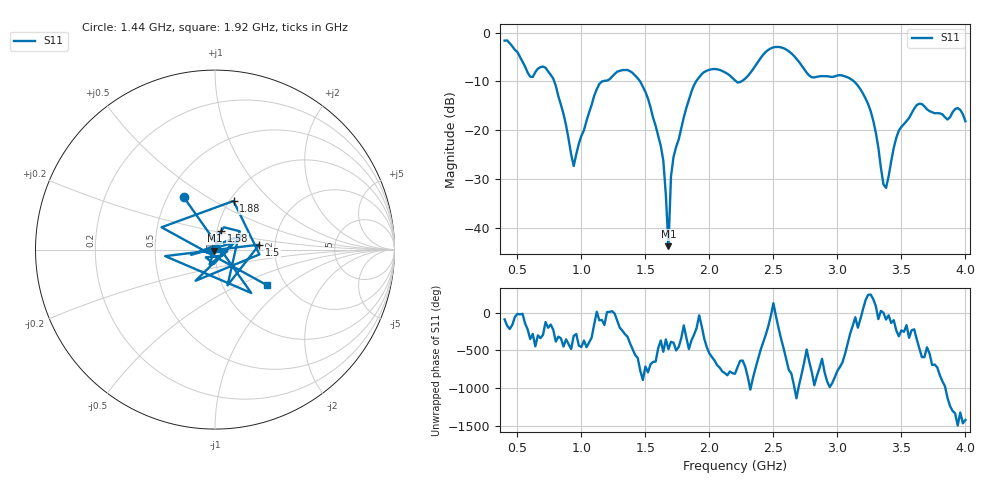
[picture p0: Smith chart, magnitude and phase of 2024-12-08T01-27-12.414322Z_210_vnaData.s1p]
!Created with skrf (http://scikit-rf.org).
# Hz S RI R 50.0
!freq ReS11 ImS11
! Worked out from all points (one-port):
!   181 points, 400 MHz to 4 GHz, reference 50 ohm
!   lowest |S11| = -43.8 dB at 1.68 GHz (marker M1), VSWR 1.01, Z = 49.6 - j0.535 ohm
!   |S11| at or under -10 dB: 788 MHz to 1.161 GHz (372.7 MHz wide, 38.2 % of centre); 1.459 GHz to 1.896 GHz (437 MHz wide, 26 % of centre); 3.13 GHz to end of sweep (the widest 3 of 4)
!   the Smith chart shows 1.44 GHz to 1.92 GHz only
!   S11 on the Smith chart (normalised r, x): 1.44 GHz: 0.60, +0.40; 1.5 GHz: 1.65, +0.10; 1.58 GHz: 1.05, +0.22; 1.88 GHz: 1.04, +0.62; 1.92 GHz: 1.61, -0.72
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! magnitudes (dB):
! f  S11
! 400 MHz  -1.6
! 600 MHz  -9.0
! 720 MHz  -7.2
! 860 MHz  -16.7
! 940 MHz  -27.4
! 1.12 GHz  -11.6
! 1.3 GHz  -7.8
! 1.44 GHz  -9.4
! 1.5 GHz  -12.1
! 1.58 GHz  -19.1
! 1.64 GHz  -26.3
! 1.68 GHz  -43.8
! 1.7 GHz  -29.5
! 1.76 GHz  -21.9
! 1.88 GHz  -10.8
! 1.92 GHz  -9.1
! 2.2 GHz  -9.8
! 2.48 GHz  -3.2
! 2.66 GHz  -4.7
! 2.8 GHz  -9.1
! 3.1 GHz  -9.4
! 3.26 GHz  -16.1
! 3.38 GHz  -31.8
! 3.46 GHz  -21.6
! 3.56 GHz  -17.5
! 3.64 GHz  -14.6
! 3.94 GHz  -15.5
! 4 GHz  -18.2
